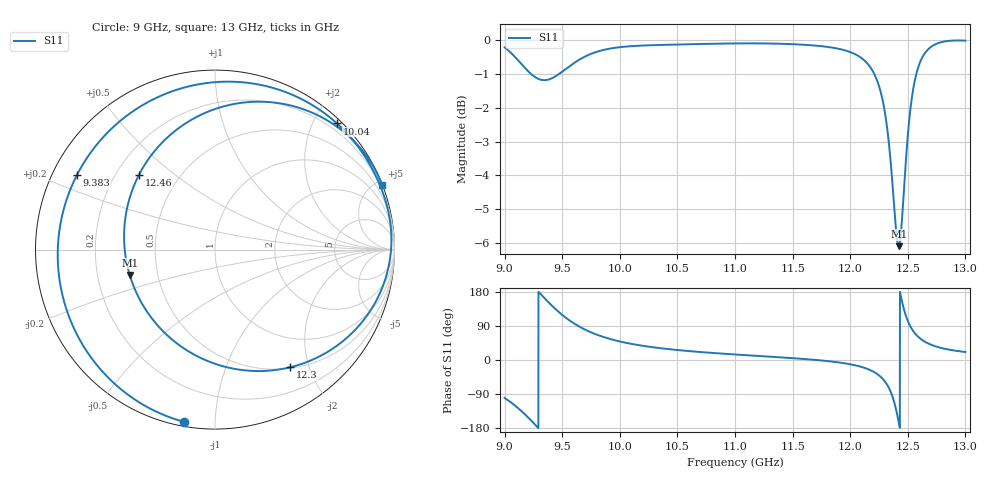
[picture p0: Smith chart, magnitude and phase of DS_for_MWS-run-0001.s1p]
! TOUCHSTONE file generated by CST DESIGN STUDIO
! Date and time: Tue Feb  4 15:51:03 2025
! Project name: C:\Work\MatlabApps\UnitCellOptimizationMatlab\CST\unitcell.cst
! Tree item: Tasks\Sweep1\SPara1\S-Parameters
! Header version: 2024
! Port assignment regex: !\s*Touchstone port\s*([0-9]+)\s*=\s*(CST MWS port|CST DES external port|CST DES block port)\s*(.+)\s* \(\"(.*)\"\)(\s*mode\s*([0-9]+))?.*
! Touchstone port assignment:
! Touchstone port 1 = CST DES external port 1 ("")
# GHz S MA R 50
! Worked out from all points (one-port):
!   4001 points, 9 GHz to 13 GHz, reference 50 ohm
!   lowest |S11| = -6.1 dB at 12.42 GHz (marker M1), VSWR 2.97, Z = 17.2 - j6.44 ohm
!   |S11| at or under -10 dB: nowhere
!   S11 on the Smith chart (normalised r, x): 9 GHz: 0.02, -0.84; 9.383 GHz: 0.07, +0.25; 10.04 GHz: 0.07, +2.35; 12.3 GHz: 0.51, -1.71; 12.46 GHz: 0.29, +0.38; 13 GHz: 0.03, +5.37
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9  0.9752 -100.1
9.111  0.9357 -125.4
9.225  0.8922 -158.1
9.303  0.8747 177.1
9.383  0.8743 151.7
9.5  0.8978 119.0
9.608  0.926 95.4
9.743  0.9529 73.9
10  0.9759 48.9
10.044  0.9776 46.0
10.5  0.9847 26.3
11  0.9885 14.6
11.5  0.9859 4.8
12  0.9598 -11.2
12.192  0.9019 -29.3
12.253  0.8517 -41.3
12.303  0.7783 -57.3
12.368  0.6099 -97.2
12.394  0.5335 -125.2
12.421  0.4959 -163.4
12.442  0.5218 165.1
12.465  0.5942 135.4
12.5  0.7223 103.1
12.534  0.8187 82.4
12.578  0.8963 64.9
12.665  0.9642 45.5
12.794  0.993 31.5
13  0.9978 21.1
